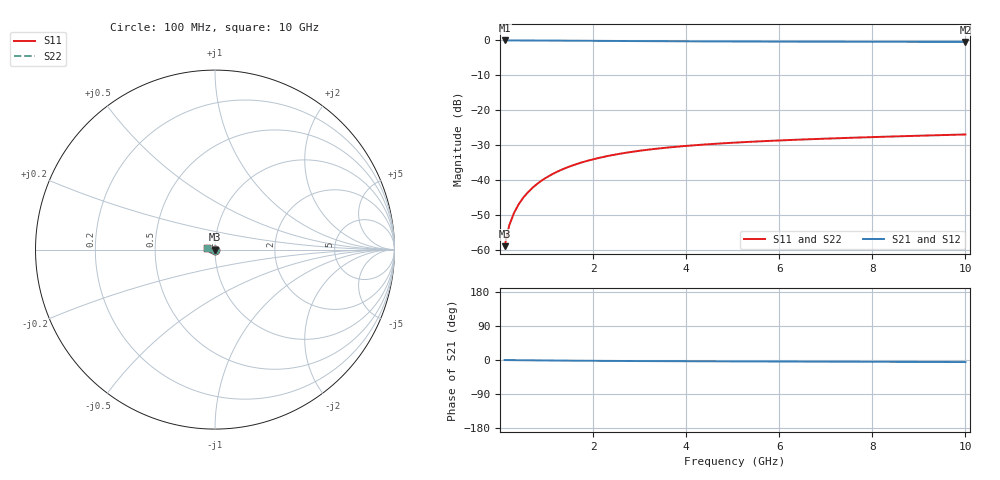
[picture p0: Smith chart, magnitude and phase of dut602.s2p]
! Touchstone file exported from HFSS 2024.1.0
!  File:  C:/UserFiles/LocalFiles/RDL_TSV_Batchsim/temp_TSV1_602_1779787493.aedt
!  Generated:  05:29:36 PM May 26, 2026
!  Design:  TSV1
!  Project:  temp_TSV1_602_1779787493
!  Setup:  Setup1
!  Solution:  Sweep
! Variables:
!  dtsv = 9.37um
!  hbump = 3um
!  htsv = 83.26um
!  lrdl = 252.1521522um
!  p = 40
!  p1 = 54.89um
!  t = 500um
!  trdl = 3um
!  wrdl = 24.89489489um
# GHz S MA R 50.000000
! Terminal data exported
! Port[1] = TSV22_T1
! Port[2] = TSV22_T2
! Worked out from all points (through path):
!   100 points, 100 MHz to 10 GHz, reference 50 ohm
!   highest |S21| = 0.00 dB at 100 MHz (marker M1); lowest = -0.4 dB at 10 GHz (marker M2)
!   lowest |S11| = -58.9 dB at 100 MHz (marker M3), VSWR 1.00, Z = 50 - j0.113 ohm
!   |S11| at or under -10 dB: start of sweep to end of sweep
!   |S22| runs from -58.9 to -26.9 dB; largest |S21 - S12| = 5.7e-15
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0.1  0.00114 -83.5  0.9998 -0.1  0.9998 -0.1  0.00114 -83.5
! Gamma 0 0 0 0
! Port Impedance 50 0 50 0
0.2  0.002263 -89.6  0.9997 -0.3  0.9997 -0.3  0.002263 -89.6
0.3  0.003389 -92.9  0.9994 -0.4  0.9994 -0.4  0.003389 -92.9
0.4  0.004511 -95.6  0.9991 -0.5  0.9991 -0.5  0.004511 -95.6
0.5  0.005624 -98.0  0.9988 -0.6  0.9988 -0.6  0.005624 -98.0
0.6  0.006725 -100.3  0.9984 -0.7  0.9984 -0.7  0.006725 -100.3
0.7  0.007811 -102.5  0.9979 -0.9  0.9979 -0.9  0.007811 -102.5
0.8  0.00888 -104.6  0.9973 -1.0  0.9973 -1.0  0.00888 -104.6
0.9  0.00993 -106.7  0.9967 -1.1  0.9967 -1.1  0.00993 -106.7
1.1  0.01197 -110.6  0.9953 -1.3  0.9953 -1.3  0.01197 -110.6
1.4  0.01485 -116.3  0.993 -1.6  0.993 -1.6  0.01485 -116.3
1.6  0.01664 -119.9  0.9913 -1.8  0.9913 -1.8  0.01664 -119.9
1.8  0.01833 -123.3  0.9895 -2.0  0.9895 -2.0  0.01833 -123.3
2.1  0.02067 -128.2  0.9868 -2.2  0.9868 -2.2  0.02067 -128.2
2.5  0.02344 -134.3  0.9832 -2.5  0.9832 -2.5  0.02344 -134.3
2.9  0.02584 -139.9  0.9798 -2.7  0.9798 -2.7  0.02584 -139.9
3.4  0.02842 -146.3  0.9759 -3.0  0.9759 -3.0  0.02841 -146.3
4.2  0.03175 -155.1  0.9705 -3.3  0.9705 -3.3  0.03175 -155.1
5.1  0.03468 -163.7  0.9658 -3.7  0.9658 -3.7  0.03468 -163.7
6.7  0.03871 -176.1  0.9599 -4.3  0.9599 -4.3  0.03871 -176.1
8.4  0.04218 173.4  0.9559 -4.9  0.9559 -4.9  0.04218 173.4
10  0.04517 165.1  0.9533 -5.4  0.9533 -5.4  0.04517 165.1
